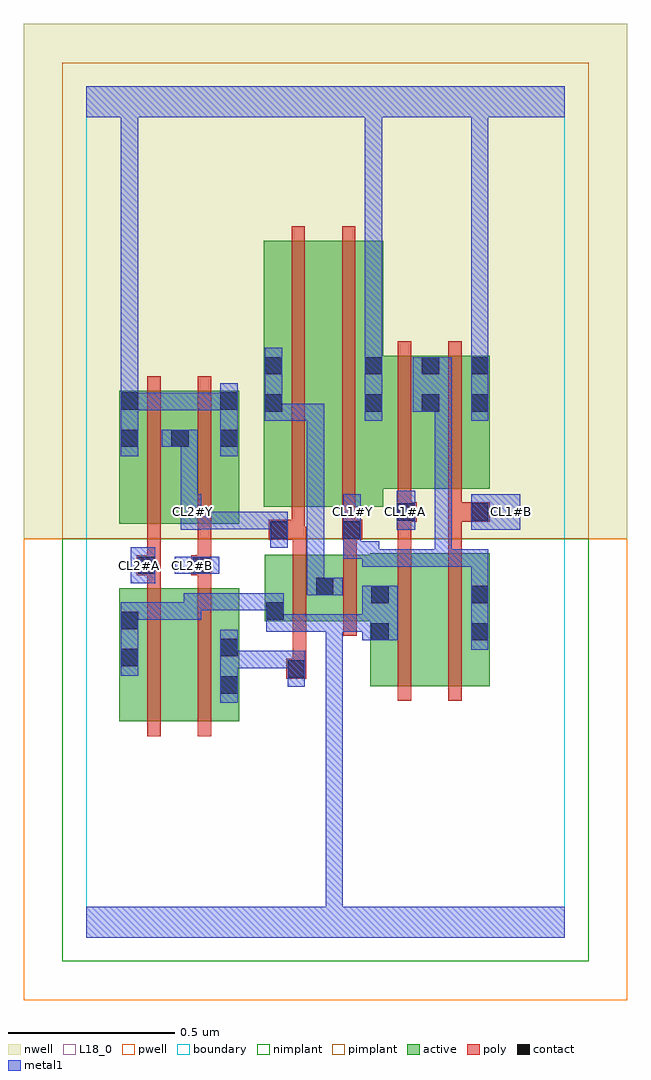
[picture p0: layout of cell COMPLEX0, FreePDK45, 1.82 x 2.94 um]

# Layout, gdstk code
import gdstk
lib = gdstk.Library(unit=1e-6, precision=1e-09)
def R(c, l, rs):  # rectangles x0, y0, x1, y1
    for r in rs: c.add(gdstk.rectangle(r[:2], r[2:], *l))
active = (1, 0)
pwell = (2, 0)
nwell = (3, 0)
nimplant = (4, 0)
pimplant = (5, 0)
poly = (9, 0)
contact = (10, 0)
metal1 = (11, 0)
L18_0 = (18, 0)
boundary = (235, 0)

complex0 = lib.new_cell('COMPLEX0')
R(complex0, active, [(0.1,0.65,0.28,1.05), (0.28,0.65,0.46,1.05), (0.4,0.65,0.46,1.05), (0.1,0.756,0.16,1.05), (0.854,0.756,1.034,1.156), (1.034,0.756,1.214,1.156), (1.154,0.756,1.214,1.156), (0.854,0.89,0.914,1.152), (0.538,0.952,0.748,1.152), (0.538,0.952,0.598,1.152), (0.688,0.952,0.914,1.152), (0.688,0.956,0.748,1.086), (0.1,1.244,0.16,1.644), (0.1,1.244,0.312,1.644), (0.252,1.244,0.312,1.644), (0.252,1.244,0.46,1.644), (0.4,1.244,0.46,1.644), (0.534,1.296,0.714,2.096), (0.534,1.296,0.594,2.044), (0.714,1.296,0.894,2.096), (0.834,1.35,1.066,1.75), (0.834,1.35,0.894,2.096), (1.006,1.35,1.066,1.75), (1.006,1.35,1.214,1.75), (1.154,1.35,1.214,1.75)])
R(complex0, pwell, [(-0.188,-0.188,1.628,1.2)])
R(complex0, nwell, [(-0.188,1.2,1.628,2.748)])
R(complex0, nimplant, [(-0.072,-0.072,1.512,1.2)])
R(complex0, pimplant, [(-0.072,1.2,1.512,2.632)])
R(complex0, poly, [(0.184,0.606,0.224,1.094), (0.336,0.606,0.376,1.094), (0.938,0.712,0.978,1.2), (1.09,0.712,1.13,1.2), (0.602,0.778,0.662,0.838), (0.622,0.798,0.662,0.948), (0.622,0.908,0.662,1.196), (0.774,0.908,0.814,1.196), (0.184,1.054,0.224,1.13), (0.336,1.054,0.376,1.13), (0.152,1.09,0.224,1.15), (0.316,1.09,0.376,1.15), (0.184,1.11,0.224,1.15), (0.184,1.11,0.224,1.15), (0.184,1.11,0.224,1.24), (0.336,1.11,0.376,1.15), (0.336,1.11,0.376,1.15), (0.336,1.11,0.376,1.24), (0.622,1.156,0.662,1.236), (0.774,1.156,0.814,1.236), (0.938,1.16,0.978,1.29), (1.09,1.16,1.13,1.29), (0.55,1.196,0.658,1.256), (0.618,1.196,0.658,1.236), (0.618,1.196,0.662,1.236), (0.77,1.196,0.83,1.256), (0.184,1.2,0.224,1.688), (0.336,1.2,0.376,1.688), (0.618,1.216,0.658,1.292), (0.77,1.216,0.81,1.292), (0.77,1.216,0.81,1.256), (0.77,1.216,0.81,1.256), (0.934,1.25,0.994,1.31), (0.938,1.25,0.978,1.29), (0.938,1.25,0.978,1.29), (1.09,1.25,1.13,1.29), (1.09,1.25,1.13,1.29), (1.09,1.25,1.214,1.31), (0.618,1.252,0.658,2.14), (0.77,1.252,0.81,2.14), (0.938,1.27,0.978,1.346), (1.09,1.27,1.13,1.346), (0.938,1.306,0.978,1.794), (1.09,1.306,1.13,1.794)])
R(complex0, contact, [(0.404,0.734,0.456,0.786), (0.606,0.782,0.658,0.834), (0.104,0.816,0.156,0.868), (0.404,0.846,0.456,0.898), (0.858,0.894,0.91,0.946), (1.158,0.894,1.21,0.946), (0.104,0.928,0.156,0.98), (0.542,0.956,0.594,1.008), (0.858,1.006,0.91,1.058), (1.158,1.006,1.21,1.058), (0.692,1.03,0.744,1.082), (0.156,1.094,0.208,1.146), (0.32,1.094,0.372,1.146), (0.554,1.2,0.606,1.252), (0.774,1.2,0.826,1.252), (0.938,1.254,0.99,1.306), (1.158,1.254,1.21,1.306), (0.104,1.476,0.156,1.528), (0.256,1.476,0.308,1.528), (0.404,1.476,0.456,1.528), (0.538,1.582,0.59,1.634), (0.838,1.582,0.89,1.634), (1.01,1.582,1.062,1.634), (1.158,1.582,1.21,1.634), (0.104,1.588,0.156,1.64), (0.404,1.588,0.456,1.64), (0.538,1.694,0.59,1.746), (0.838,1.694,0.89,1.746), (1.01,1.694,1.062,1.746), (1.158,1.694,1.21,1.746)])
R(complex0, metal1, [(0,0,1.44,0.092), (0.72,0.04,0.772,0.092), (0.72,0.04,0.772,0.092), (0.72,0.04,0.772,0.092), (0.72,0.04,0.772,0.092), (0.72,0.04,0.772,0.092), (0.72,0.04,0.772,0.092), (0.72,0.04,0.772,0.092), (0.72,0.04,0.772,0.092), (0.72,0.04,0.772,0.092), (0.72,0.04,0.772,0.092), (0.72,0.04,0.772,0.092), (0.72,0.04,0.772,0.092), (0.72,0.04,0.772,0.972), (0.404,0.706,0.456,0.926), (0.606,0.754,0.658,0.862), (0.104,0.788,0.156,1.008), (0.404,0.81,0.456,0.862), (0.404,0.81,0.456,0.862), (0.404,0.81,0.658,0.862), (1.158,0.866,1.21,1.086), (0.83,0.894,0.938,1.058), (0.542,0.92,0.594,0.972), (0.542,0.92,0.594,0.972), (0.542,0.92,0.772,0.972), (0.542,0.92,0.594,1.036), (0.72,0.92,0.772,0.972), (0.72,0.92,0.772,0.972), (0.72,0.92,0.772,0.972), (0.72,0.92,0.772,0.972), (0.72,0.92,0.772,0.972), (0.72,0.92,0.772,0.972), (0.72,0.92,0.772,0.972), (0.72,0.92,0.882,0.972), (0.104,0.956,0.156,1.008), (0.104,0.956,0.156,1.008), (0.104,0.956,0.346,1.008), (0.294,0.956,0.346,1.008), (0.294,0.956,0.346,1.008), (0.294,0.956,0.346,1.036), (0.294,0.984,0.456,1.036), (0.404,0.984,0.456,1.036), (0.404,0.984,0.594,1.036), (0.542,0.984,0.594,1.036), (0.542,0.984,0.594,1.036), (0.664,1.03,0.716,1.082), (0.664,1.03,0.716,1.082), (0.664,1.03,0.772,1.082), (0.664,1.03,0.716,1.606), (1.158,1.034,1.21,1.168), (0.134,1.066,0.208,1.174), (0.266,1.094,0.4,1.146), (0.83,1.116,1.1,1.168), (0.83,1.116,0.882,1.192), (1.048,1.116,1.1,1.168), (1.048,1.116,1.1,1.168), (1.048,1.116,1.1,1.168), (1.048,1.116,1.1,1.168), (1.048,1.116,1.1,1.168), (1.048,1.116,1.21,1.168), (1.048,1.116,1.1,1.634), (1.158,1.116,1.21,1.168), (1.158,1.116,1.21,1.168), (1.158,1.116,1.21,1.168), (0.774,1.14,0.882,1.192), (0.774,1.14,0.826,1.334), (0.554,1.172,0.606,1.28), (0.284,1.226,0.346,1.334), (0.934,1.226,0.99,1.344), (1.158,1.226,1.306,1.334), (0.294,1.228,0.346,1.28), (0.294,1.228,0.346,1.28), (0.294,1.228,0.456,1.28), (0.404,1.228,0.456,1.28), (0.404,1.228,0.51,1.28), (0.458,1.228,0.51,1.28), (0.458,1.228,0.606,1.28), (0.284,1.282,0.336,1.528), (0.104,1.448,0.156,1.668), (0.404,1.448,0.456,1.668), (0.228,1.476,0.336,1.528), (0.538,1.554,0.59,1.606), (0.538,1.554,0.59,1.606), (0.538,1.554,0.59,1.774), (0.538,1.554,0.716,1.606), (0.664,1.554,0.716,1.606), (0.664,1.554,0.716,1.606), (0.664,1.554,0.716,1.606), (0.838,1.554,0.89,1.774), (1.158,1.554,1.21,1.774), (0.982,1.582,1.1,1.746), (0.104,1.586,0.156,1.638), (0.104,1.586,0.156,1.638), (0.104,1.586,0.346,1.638), (0.294,1.586,0.346,1.638), (0.294,1.586,0.346,1.638), (0.294,1.586,0.346,1.638), (0.294,1.586,0.456,1.638), (0.104,1.616,0.156,1.716), (0.104,1.664,0.156,1.716), (0.104,1.664,0.156,1.716), (0.104,1.664,0.156,1.716), (0.104,1.664,0.156,1.716), (0.104,1.664,0.156,1.716), (0.104,1.664,0.156,1.716), (0.104,1.664,0.156,1.716), (0.104,1.664,0.156,1.716), (0.104,1.664,0.156,1.716), (0.104,1.664,0.156,2.52), (0.838,1.722,0.89,2.52), (1.158,1.722,1.21,1.774), (1.158,1.722,1.21,1.774), (1.158,1.722,1.21,1.774), (1.158,1.722,1.21,1.774), (1.158,1.722,1.21,1.774), (1.158,1.722,1.21,1.774), (1.158,1.722,1.21,2.52), (0,2.468,1.44,2.56), (0.104,2.468,0.156,2.52), (0.104,2.468,0.156,2.52), (0.104,2.468,0.156,2.52), (0.104,2.468,0.156,2.52), (0.104,2.468,0.156,2.52), (0.104,2.468,0.156,2.52), (0.838,2.468,0.89,2.52), (0.838,2.468,0.89,2.52), (0.838,2.468,0.89,2.52), (0.838,2.468,0.89,2.52), (0.838,2.468,0.89,2.52), (0.838,2.468,0.89,2.52), (0.838,2.468,0.89,2.52), (0.838,2.468,0.89,2.52), (1.158,2.468,1.21,2.52), (1.158,2.468,1.21,2.52), (1.158,2.468,1.21,2.52), (1.158,2.468,1.21,2.52), (1.158,2.468,1.21,2.52), (1.158,2.468,1.21,2.52), (1.158,2.468,1.21,2.52), (1.158,2.468,1.21,2.52), (1.158,2.468,1.21,2.52), (1.158,2.468,1.21,2.52)])
R(complex0, L18_0, [(0,0,1.44,0.092), (0.72,0.04,0.772,0.092), (0.72,0.04,0.772,0.092), (0.72,0.04,0.772,0.092), (0.72,0.04,0.772,0.092), (0.72,0.04,0.772,0.092), (0.72,0.04,0.772,0.092), (0.72,0.04,0.772,0.092), (0.72,0.04,0.772,0.092), (0.72,0.04,0.772,0.092), (0.72,0.04,0.772,0.092), (0.72,0.04,0.772,0.092), (0.72,0.04,0.772,0.092), (0.72,0.04,0.772,0.972), (0.404,0.706,0.456,0.926), (0.606,0.754,0.658,0.862), (0.104,0.788,0.156,1.008), (0.404,0.81,0.456,0.862), (0.404,0.81,0.456,0.862), (0.404,0.81,0.658,0.862), (1.158,0.866,1.21,1.086), (0.83,0.894,0.938,1.058), (0.542,0.92,0.594,0.972), (0.542,0.92,0.594,0.972), (0.542,0.92,0.594,1.036), (0.542,0.92,0.772,0.972), (0.72,0.92,0.772,0.972), (0.72,0.92,0.772,0.972), (0.72,0.92,0.772,0.972), (0.72,0.92,0.772,0.972), (0.72,0.92,0.772,0.972), (0.72,0.92,0.772,0.972), (0.72,0.92,0.772,0.972), (0.72,0.92,0.882,0.972), (0.104,0.956,0.156,1.008), (0.104,0.956,0.156,1.008), (0.104,0.956,0.346,1.008), (0.294,0.956,0.346,1.008), (0.294,0.956,0.346,1.008), (0.294,0.956,0.346,1.036), (0.294,0.984,0.456,1.036), (0.404,0.984,0.456,1.036), (0.404,0.984,0.594,1.036), (0.542,0.984,0.594,1.036), (0.542,0.984,0.594,1.036), (1.158,1.034,1.21,1.168), (0.134,1.066,0.208,1.174), (0.134,1.094,0.186,1.146), (0.266,1.094,0.4,1.146), (0.294,1.094,0.346,1.146), (0.83,1.116,0.882,1.192), (0.83,1.116,1.1,1.168), (1.048,1.116,1.1,1.168), (1.048,1.116,1.1,1.168), (1.048,1.116,1.1,1.168), (1.048,1.116,1.1,1.168), (1.048,1.116,1.1,1.168), (1.048,1.116,1.21,1.168), (1.048,1.116,1.1,1.634), (1.158,1.116,1.21,1.168), (1.158,1.116,1.21,1.168), (1.158,1.116,1.21,1.168), (0.774,1.14,0.882,1.192), (0.774,1.14,0.826,1.334), (0.554,1.172,0.606,1.28), (0.284,1.226,0.346,1.334), (0.934,1.226,0.99,1.344), (1.158,1.226,1.306,1.334), (0.294,1.228,0.346,1.28), (0.294,1.228,0.346,1.28), (0.294,1.228,0.456,1.28), (0.404,1.228,0.456,1.28), (0.404,1.228,0.51,1.28), (0.458,1.228,0.51,1.28), (0.458,1.228,0.606,1.28), (0.294,1.254,0.346,1.306), (0.774,1.254,0.826,1.306), (0.934,1.254,0.986,1.306), (1.254,1.254,1.306,1.306), (0.284,1.282,0.336,1.528), (0.104,1.448,0.156,1.668), (0.404,1.448,0.456,1.668), (0.228,1.476,0.336,1.528), (0.838,1.554,0.89,1.774), (1.158,1.554,1.21,1.774), (0.982,1.582,1.1,1.746), (0.104,1.586,0.156,1.638), (0.104,1.586,0.156,1.638), (0.104,1.586,0.346,1.638), (0.294,1.586,0.346,1.638), (0.294,1.586,0.346,1.638), (0.294,1.586,0.346,1.638), (0.294,1.586,0.456,1.638), (0.104,1.616,0.156,1.716), (0.104,1.664,0.156,1.716), (0.104,1.664,0.156,1.716), (0.104,1.664,0.156,1.716), (0.104,1.664,0.156,1.716), (0.104,1.664,0.156,1.716), (0.104,1.664,0.156,1.716), (0.104,1.664,0.156,1.716), (0.104,1.664,0.156,1.716), (0.104,1.664,0.156,1.716), (0.104,1.664,0.156,2.52), (0.838,1.722,0.89,2.52), (1.158,1.722,1.21,1.774), (1.158,1.722,1.21,1.774), (1.158,1.722,1.21,1.774), (1.158,1.722,1.21,1.774), (1.158,1.722,1.21,1.774), (1.158,1.722,1.21,1.774), (1.158,1.722,1.21,2.52), (0,2.468,1.44,2.56), (0.104,2.468,0.156,2.52), (0.104,2.468,0.156,2.52), (0.104,2.468,0.156,2.52), (0.104,2.468,0.156,2.52), (0.104,2.468,0.156,2.52), (0.104,2.468,0.156,2.52), (0.838,2.468,0.89,2.52), (0.838,2.468,0.89,2.52), (0.838,2.468,0.89,2.52), (0.838,2.468,0.89,2.52), (0.838,2.468,0.89,2.52), (0.838,2.468,0.89,2.52), (0.838,2.468,0.89,2.52), (0.838,2.468,0.89,2.52), (1.158,2.468,1.21,2.52), (1.158,2.468,1.21,2.52), (1.158,2.468,1.21,2.52), (1.158,2.468,1.21,2.52), (1.158,2.468,1.21,2.52), (1.158,2.468,1.21,2.52), (1.158,2.468,1.21,2.52), (1.158,2.468,1.21,2.52), (1.158,2.468,1.21,2.52), (1.158,2.468,1.21,2.52)])
R(complex0, boundary, [(0,0,1.44,2.56)])
complex0.add(gdstk.Label('CL1#A', (0.96,1.28), layer=11, texttype=0))
complex0.add(gdstk.Label('CL1#B', (1.28,1.28), layer=11, texttype=0))
complex0.add(gdstk.Label('CL1#Y', (0.8,1.28), layer=11, texttype=0))
complex0.add(gdstk.Label('CL2#A', (0.16,1.12), layer=11, texttype=0))
complex0.add(gdstk.Label('CL2#B', (0.32,1.12), layer=11, texttype=0))
complex0.add(gdstk.Label('CL2#Y', (0.32,1.28), layer=11, texttype=0))

lib.write_gds('COMPLEX0.gds')
